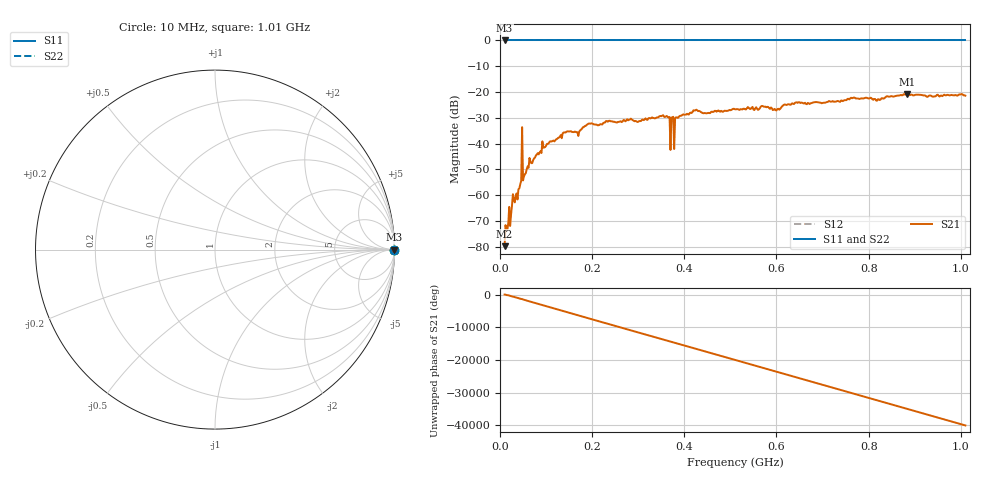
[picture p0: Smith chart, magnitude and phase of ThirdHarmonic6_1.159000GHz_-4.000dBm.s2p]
! 8/16/2025 11:35:39 AM
! C:\ANRITSUVNA\TEMP\TEMP.S2P
! CHANNEL.1
! TR.MEASUREMENT
! RAW.DATA
! RF.CORRECTION.OFF
! AVERAGING.OFF
! IF.BANDWIDTH: 5KHZ
! SWEEPTYPE:  FREQ.SWEEP(Linear)
! Reference Plane Port Info
! PORT:  PORT1  PORT2
! DISTANCE:  0  m  0  m
! TIME:  0  s  0  s
! PHASE.OFFSET:  0  deg.  0  deg.
! LOSS:  0  dB  0  dB
! REF.LOSS:  0  dB  0  dB
! REF.FREQ:  0  Hz  0  Hz
! Power Info
! POWER:  -20  dBm  -20  dBm
! EFF.POWER:  -20  dBm  -20  dBm
! SOURCE.ATTEN:  0  dB  0  dB
! TEST.ATTEN:  0  dB  0  dB
# GHZ S RI R 50.0
! FREQ.GHZ  S11RE  S11IM  S21RE  S21IM  S12RE  S12IM  S22RE  S22IM
!; PortSelection: Port_12
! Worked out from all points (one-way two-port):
!   501 points, 10 MHz to 1.01 GHz, reference 50 ohm
!   highest |S21| = -20.72 dB at 884 MHz (marker M1); lowest = -79.7 dB at 10 MHz (marker M2)
!   lowest |S11| = 0.0 dB at 10 MHz (marker M3)
!   |S11| at or under -10 dB: nowhere
!   |S22| runs from 0.0 to 0.0 dB; largest |S21 - S12| = 1.1
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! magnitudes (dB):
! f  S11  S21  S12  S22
! 10 MHz  0.0  -79.7  0.0  0.0
! 30 MHz  0.0  -61.3  0.0  0.0
! 42 MHz  0.0  -57.3  0.0  0.0
! 44 MHz  0.0  -55.7  0.0  0.0
! 52 MHz  0.0  -52.7  0.0  0.0
! 54 MHz  0.0  -51.9  0.0  0.0
! 62 MHz  0.0  -49.4  0.0  0.0
! 96 MHz  0.0  -41.5  0.0  0.0
! 140 MHz  0.0  -35.7  0.0  0.0
! 178 MHz  0.0  -34.2  0.0  0.0
! 344 MHz  0.0  -29.7  0.0  0.0
! 364 MHz  0.0  -29.7  0.0  0.0
! 366 MHz  0.0  -29.8  0.0  0.0
! 372 MHz  0.0  -29.9  0.0  0.0
! 374 MHz  0.0  -29.8  0.0  0.0
! 384 MHz  0.0  -29.9  0.0  0.0
! 424 MHz  0.0  -27.1  0.0  0.0
! 510 MHz  0.0  -26.7  0.0  0.0
! 678 MHz  0.0  -24.1  0.0  0.0
! 844 MHz  0.0  -21.8  0.0  0.0
! 884 MHz  0.0  -20.7  0.0  0.0
! 1.01 GHz  0.0  -21.4  0.0  0.0
